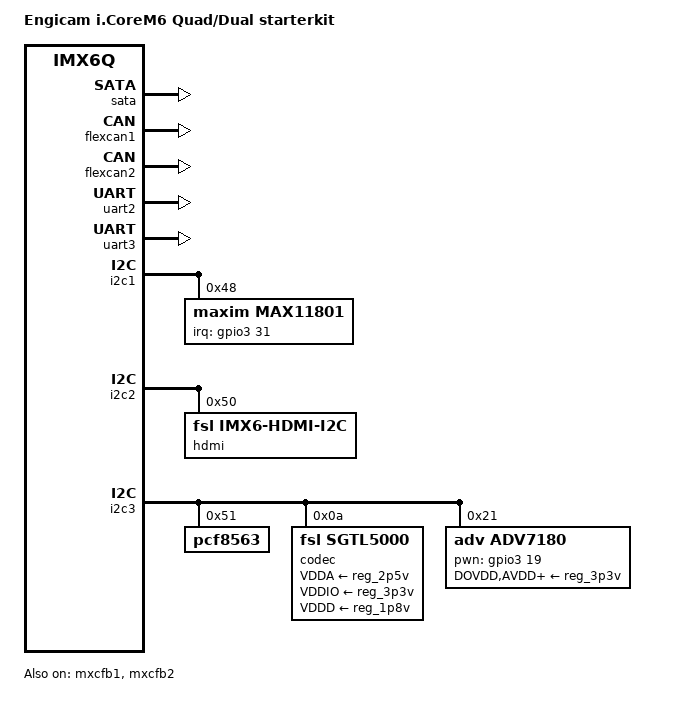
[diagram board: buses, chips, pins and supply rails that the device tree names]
/*
 * Copyright (C) 2013 Freescale Semiconductor, Inc.
 *
 * This program is free software; you can redistribute it and/or modify
 * it under the terms of the GNU General Public License version 2 as
 * published by the Free Software Foundation.
 */

/dts-v1/;

#include "imx6q.dtsi"
#include "icorem6qdl.dtsi"

/ {
	model = "Engicam i.CoreM6 Quad/Dual starterkit";
	compatible = "fsl,imx6-icore", "fsl,imx6q";

	sound {
		compatible = "fsl,imx6-icore-sgtl5000",
			     "fsl,imx-audio-sgtl5000";
		model = "imx6q-icore-sgtl5000";
		cpu-dai = <&ssi1>;
		audio-codec = <&codec>;
		audio-routing =
			"MIC_IN", "Mic Jack",
			"Mic Jack", "Mic Bias",
			"Headphone Jack", "HP_OUT";
		mux-int-port = <1>;
		mux-ext-port = <4>;
	};
};

&ldb {
	ipu_id = <0>;
	sec_ipu_id = <0>;
};

&mxcfb1 {
	status = "okay";
};

&mxcfb2 {
	status = "okay";
};

&sata {
	status = "okay";
};

&flexcan1 {
	status = "okay";
};

&flexcan2 {
	status = "okay";
};

&uart2 {
	status = "okay";
};

&uart3 {
	fsl,uart-has-rtscts;
	status = "okay";
};

&i2c1 {
	max11801@48 {
		compatible = "maxim,max11801";
		reg = <0x48>;
		interrupt-parent = <&gpio3>;
		interrupts = <31 2>;
		work-mode = <0>;/*DCM mode*/
	};
};

&i2c2 {

	hdmi: edid@50 {
		compatible = "fsl,imx6-hdmi-i2c";
		reg = <0x50>;
	};
	
};

&i2c3 {
	
	pcf8563: rtc@51 {
		compatible = "pcf8563";
		reg = <0x51>;
	};

	codec: sgtl5000@0a {
		compatible = "fsl,sgtl5000";
		reg = <0x0a>;
		clocks = <&clks 201>;
		VDDA-supply = <&reg_2p5v>;
		VDDIO-supply = <&reg_3p3v>;
		VDDD-supply = <&reg_1p8v>;
	};

	adv7180: adv7180@21 {
		compatible = "adv,adv7180";
		reg = <0x21>;
		pinctrl-names = "default";
		pinctrl-0 = <&pinctrl_ipu1_6>;
		clocks = <&clks 201>;
		clock-names = "csi_mclk";
		DOVDD-supply = <&reg_3p3v>; /* 3.3v, enabled via 2.8 VGEN6 */
		AVDD-supply = <&reg_3p3v>;  /* 1.8v */
		DVDD-supply = <&reg_3p3v>;  /* 1.8v */
		PVDD-supply = <&reg_3p3v>;  /* 1.8v */
		pwn-gpios = <&gpio3 19 0>;  /* put on not used pin */
		csi_id = <0>;
		mclk = <24000000>;
		mclk_source = <0>;
		cvbs = <1>;
		status = "okay";
	};
};
